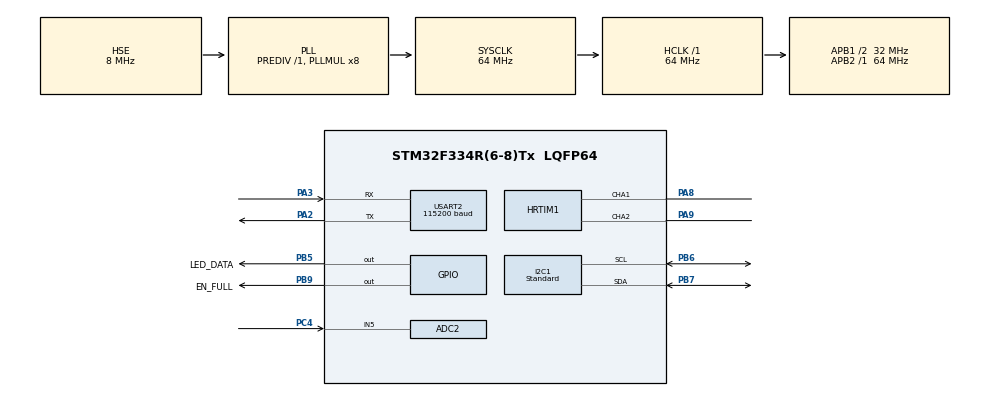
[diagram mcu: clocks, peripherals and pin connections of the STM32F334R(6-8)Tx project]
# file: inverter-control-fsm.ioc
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ADC2.Channel-1\#ChannelRegularConversion=ADC_CHANNEL_5
ADC2.ClockPrescaler=ADC_CLOCK_SYNC_PCLK_DIV1
ADC2.DMAContinuousRequests=ENABLE
ADC2.EnableInjectedConversion=DISABLE
ADC2.ExternalTrigConv=ADC_EXTERNALTRIGCONVHRTIM_TRG1
ADC2.NbrOfConversionFlag=1
ADC2.Offset-1\#ChannelRegularConversion=0
ADC2.OffsetNumber-1\#ChannelRegularConversion=ADC_OFFSET_NONE
ADC2.Rank-1\#ChannelRegularConversion=1
ADC2.SamplingTime-1\#ChannelRegularConversion=ADC_SAMPLETIME_1CYCLE_5
ADC2.SamplingTimeOPAMP-1\#ChannelRegularConversion=ADC_SAMPLETIME_61CYCLES_5
ADC2.SubFamily=STM32F334x8
Dma.ADC2.0.Direction=DMA_PERIPH_TO_MEMORY
Dma.ADC2.0.Instance=DMA1_Channel2
Dma.ADC2.0.MemDataAlignment=DMA_MDATAALIGN_HALFWORD
Dma.ADC2.0.MemInc=DMA_MINC_ENABLE
Dma.ADC2.0.Mode=DMA_CIRCULAR
Dma.ADC2.0.PeriphDataAlignment=DMA_PDATAALIGN_HALFWORD
Dma.ADC2.0.PeriphInc=DMA_PINC_DISABLE
Dma.ADC2.0.Priority=DMA_PRIORITY_LOW
Dma.Request0=ADC2
HRTIM1.ADCTrigger1_Source1=HRTIM_ADCTRIGGEREVENT13_TIMERB_PERIOD
HRTIM1.ADCTrigger_Id1=HRTIM_ADCTRIGGER_1
HRTIM1.CompareUnit1-Output_TA1TA2=HRTIM_COMPAREUNIT_1
HRTIM1.CompareUnit2-Output_TA1TA2=HRTIM_COMPAREUNIT_2
HRTIM1.CompareUnit3-Output_TA1TA2=HRTIM_COMPAREUNIT_3
HRTIM1.CompareUnit4-Output_TA1TA2=__NULL
HRTIM1.CompareValue1-Output_TA1TA2=207
HRTIM1.CompareValue2-Output_TA1TA2=302
HRTIM1.CompareValue3-Output_TA1TA2=509
HRTIM1.IdleLevel1-Output_TA1TA2=HRTIM_OUTPUTIDLELEVEL_ACTIVE
HRTIM1.IdleLevel2-Output_TA1TA2=HRTIM_OUTPUTIDLELEVEL_ACTIVE
HRTIM1.ModeTimeBase-Output_TA1TA2=HRTIM_MODE_SINGLESHOT_RETRIGGERABLE
HRTIM1.NumberADCTriggerSource1=1
HRTIM1.NumberResetSource1-Output_TA1TA2=1
HRTIM1.NumberResetSource2_TA=1
HRTIM1.NumberResetTrigger-Output_TA1TA2=1
HRTIM1.NumberSetSource1-Output_TA1TA2=1
HRTIM1.NumberSetSource2_TA=1
HRTIM1.ORingUpdateSource_ADCTrigger1=HRTIM_ADCTRIGGERUPDATE_TIMER_B
HRTIM1.Periode_MASTER=604
HRTIM1.Periode_TA=0xA0FF
HRTIM1.Periode_TB=1216
HRTIM1.Polarity1-Output_TA1TA2=HRTIM_OUTPUTPOLARITY_HIGH
HRTIM1.PreloadEnable-MasterTimer=HRTIM_PRELOAD_ENABLED
HRTIM1.PreloadEnable-No_output_TB=HRTIM_PRELOAD_ENABLED
HRTIM1.PreloadEnable-Output_TA1TA2=HRTIM_PRELOAD_ENABLED
HRTIM1.ResetOutput1_Source1-Output_TA1TA2=HRTIM_OUTPUTRESET_TIMCMP1
HRTIM1.ResetOutput2_Source1-Output_TA1TA2=HRTIM_OUTPUTRESET_TIMCMP3
HRTIM1.ResetTrigger1-Output_TA1TA2=HRTIM_TIMRESETTRIGGER_MASTER_PER
HRTIM1.SetOutput1_Source1-Output_TA1TA2=HRTIM_OUTPUTSET_MASTERPER
HRTIM1.SetOutput2_Source1-Output_TA1TA2=HRTIM_OUTPUTSET_TIMCMP2
I2C1.Analog_Filter=I2C_ANALOGFILTER_ENABLE
I2C1.I2C_Speed_Mode=I2C_Standard
I2C1.Timing=0x10707DBC
Mcu.Family=STM32F3
Mcu.Name=STM32F334R(6-8)Tx
Mcu.Package=LQFP64
NVIC.DMA1_Channel2_IRQn=true\:0\:0\:false\:false\:true\:false\:true\:true
NVIC.PriorityGroup=NVIC_PRIORITYGROUP_4
NVIC.TIM6_DAC1_IRQn=true\:0\:0\:false\:false\:true\:true\:true\:true
NVIC.USART2_IRQn=true\:11\:0\:true\:false\:true\:true\:true\:true
PA13.Mode=Serial_Wire
PA13.Signal=SYS_JTMS-SWDIO
PA14.Mode=Serial_Wire
PA14.Signal=SYS_JTCK-SWCLK
PA2.Mode=Asynchronous
PA2.Signal=USART2_TX
PA3.Mode=Asynchronous
PA3.Signal=USART2_RX
PA8.Mode=Output_TA1TA2
PA8.Signal=HRTIM1_CHA1
PA9.Mode=Output_TA1TA2
PA9.Signal=HRTIM1_CHA2
PB3.Signal=SYS_JTDO-TRACESWO
PB5.GPIO_Label=LED_DATA
PB5.Signal=GPIO_Output
PB6.GPIO_FM6=SYSCFG_CFGR1_I2C_PB6_FMP
PB6.GPIO_Pu=GPIO_NOPULL
PB6.GPIO_Speed=GPIO_SPEED_FREQ_HIGH
PB6.Mode=I2C
PB6.Signal=I2C1_SCL
PB7.GPIO_FM7=SYSCFG_CFGR1_I2C_PB7_FMP
PB7.GPIO_Pu=GPIO_NOPULL
PB7.Mode=I2C
PB7.Signal=I2C1_SDA
PB9.GPIO_FM9=__NULL
PB9.GPIO_Label=EN_FULL
PB9.GPIO_Speed=GPIO_SPEED_FREQ_LOW
PB9.Signal=GPIO_Output
PC4.Mode=IN5-Single-Ended
PC4.Signal=ADC2_IN5
PF0\ /\ OSC_IN.Mode=HSE-External-Oscillator
PF0\ /\ OSC_IN.Signal=RCC_OSC_IN
PF1\ /\ OSC_OUT.Mode=HSE-External-Oscillator
PF1\ /\ OSC_OUT.Signal=RCC_OSC_OUT
ProjectManager.HeapSize=0x200
ProjectManager.StackSize=0x400
ProjectManager.TargetToolchain=STM32CubeIDE
RCC.AHBFreq_Value=64000000
RCC.APB1CLKDivider=RCC_HCLK_DIV2
RCC.APB1Freq_Value=32000000
RCC.APB1TimFreq_Value=64000000
RCC.APB2Freq_Value=64000000
RCC.APB2TimFreq_Value=64000000
RCC.CortexFreq_Value=64000000
RCC.HCLKFreq_Value=64000000
RCC.HRTIMSelection=RCC_HRTIM1CLK_PLLCLK
RCC.HSE_VALUE=8000000
RCC.HSI_VALUE=8000000
RCC.I2c1ClockSelection=RCC_I2C1CLKSOURCE_SYSCLK
RCC.LSE_VALUE=32768
RCC.PLLMUL=RCC_PLL_MUL8
RCC.PLLSourceVirtual=RCC_PLLSOURCE_HSE
RCC.SYSCLKFreq_VALUE=64000000
RCC.SYSCLKSourceVirtual=RCC_SYSCLKSOURCE_PLLCLK
TIM6.Period=18750
TIM6.Prescaler=1024
USART2.BaudRate=115200
USART2.VirtualMode-Asynchronous=VM_ASYNC
VP_HRTIM1_VS_hrtimMasterTimerNoOutput.Mode=MasterTimer
VP_HRTIM1_VS_hrtimTimerBNoOutput.Mode=No_output_TB
VP_TIM6_VS_ClockSourceINT.Mode=Enable_Timer
board=custom

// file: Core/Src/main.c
/* USER CODE BEGIN Header */
/**
 ******************************************************************************
 * @file           : main.c
 * @brief          : Main program body
 ******************************************************************************
 * @attention
 *
 * Copyright (c) 2023 STMicroelectronics.
 * All rights reserved.
 *
 * This software is licensed under terms that can be found in the LICENSE file
 * in the root directory of this software component.
 * If no LICENSE file comes with this software, it is provided AS-IS.
 *
 ******************************************************************************
 */
/* USER CODE END Header */
#include "main.h"

/* USER CODE BEGIN Includes */
#include <stdbool.h>
#include "cJSON.h"
#include <string.h>
#include <stdio.h>
/* USER CODE END Includes */

/* USER CODE BEGIN PTD */
typedef enum {
	STATE_IDLE, STATE_CALIBRATING, STATE_LOCALIZATION, STATE_DEPLOY
} state_t;

typedef enum {
	EVENT_OFF_MSG,
	EVENT_CALIBRATE_DONE,
	EVENT_LOCALIZATION_MSG,
	EVENT_DEPLOY_MSG,
	EVENT_ALERT,
} event_t;

typedef enum {
	NONE, OV, OC, OT, HS, DI,
} alert_t;

typedef struct {
	state_t currentState;
	event_t event;
	state_t nextState;
	void (*action)(void);
} transition_t;
/* USER CODE END PTD */

/* USER CODE BEGIN PD */
#define I2C_ADD_TEMP1 0x48
#define I2C_ADD_TEMP2 0x49
#define I2C_ADD_PWR 0x40

#define ADC_BUF_LEN 151

#define BUFFER_SIZE 1024

#define STARTING_DUTY				0.3
#define MAX_DUTY_CALIBRATION		0.4
#define MIN_DUTY_CALIBRATION		0.2
#define DEPLOY_DUTY_TRESHOLD		0.015
#define DUTY_CYCLE_SINGLE_CHANGE	0.002

/* USER CODE END PD */

ADC_HandleTypeDef hadc2;
DMA_HandleTypeDef hdma_adc2;

HRTIM_HandleTypeDef hhrtim1;

I2C_HandleTypeDef hi2c1;

TIM_HandleTypeDef htim6;

UART_HandleTypeDef huart2;

/* USER CODE BEGIN PV */
state_t currentState = STATE_IDLE;

static volatile uint16_t adc_buf[ADC_BUF_LEN];

static uint8_t rxBuffer[BUFFER_SIZE];
static volatile uint16_t rxIndex = 0;

static volatile uint8_t jsonFlag = 0;
static volatile bool UART_READY = true;
static volatile bool SEND_TIMER_FLAG = false;

static double TEMP_LIMIT = 40;
static double CURRENT_LIMIT = 2.2;
static double VOLT_LIMIT = 75;

static alert_t gAlertType = NONE;

/* USER CODE END PV */

void SystemClock_Config(void);
static void MX_GPIO_Init(void);
static void MX_DMA_Init(void);
static void MX_I2C1_Init(void);
static void MX_ADC2_Init(void);
static void MX_HRTIM1_Init(void);
static void MX_USART2_UART_Init(void);
static void MX_TIM6_Init(void);
/* USER CODE BEGIN PFP */
void handleEvent(event_t event);
void actionTurnOff();
void actionTurnOn();
void actionCalibrate();

void parse_json(const char *json);
/* USER CODE END PFP */

/* USER CODE BEGIN 0 */
// @formatter:off
transition_t transitionTable[] = {
		{ STATE_IDLE, 			EVENT_LOCALIZATION_MSG,    	STATE_CALIBRATING, 	actionTurnOn			 	},
		{ STATE_CALIBRATING, 	EVENT_CALIBRATE_DONE, 		STATE_LOCALIZATION, NULL					 	},
		{ STATE_LOCALIZATION, 	EVENT_DEPLOY_MSG,			STATE_DEPLOY, 		NULL 						},

		{ STATE_IDLE, 			EVENT_DEPLOY_MSG,			STATE_CALIBRATING,  actionTurnOn				},
		{ STATE_CALIBRATING, 	EVENT_CALIBRATE_DONE,		STATE_DEPLOY,  		NULL						},

		{ STATE_DEPLOY, 		EVENT_ALERT, 				STATE_IDLE,      	actionTurnOff 				},
		{ STATE_DEPLOY, 		EVENT_OFF_MSG, 				STATE_IDLE,     	actionTurnOff 				},
		{ STATE_CALIBRATING, 	EVENT_ALERT, 				STATE_IDLE, 		actionTurnOff 				},
		{ STATE_CALIBRATING, 	EVENT_OFF_MSG, 				STATE_IDLE, 		actionTurnOff 				},
		{ STATE_IDLE,			EVENT_OFF_MSG,				STATE_IDLE,			actionTurnOff				},
		{ STATE_IDLE,			EVENT_ALERT,				STATE_IDLE,			actionTurnOff				},
		{ STATE_IDLE,			EVENT_ALERT,				STATE_IDLE,			actionTurnOff				},
		{ STATE_LOCALIZATION,	EVENT_ALERT,				STATE_IDLE,			actionTurnOff				},
		{ STATE_LOCALIZATION,	EVENT_OFF_MSG,				STATE_IDLE,			actionTurnOff				},
};
//@formatter:on
/* USER CODE END 0 */

int main(void)
{

  /* MCU Configuration--------------------------------------------------------*/

  /* Reset of all peripherals, Initializes the Flash interface and the Systick. */
  HAL_Init();

  /* Configure the system clock */
  SystemClock_Config();

  /* Initialize all configured peripherals */
  MX_GPIO_Init();
  MX_DMA_Init();
  MX_I2C1_Init();
  MX_ADC2_Init();
  MX_HRTIM1_Init();
  MX_USART2_UART_Init();
  MX_TIM6_Init();
  /* USER CODE BEGIN 2 */
	HAL_ADCEx_Calibration_Start(&hadc2, ADC_SINGLE_ENDED);
	HAL_ADC_Start_DMA(&hadc2, (uint32_t*) adc_buf, ADC_BUF_LEN);

	// Buffers for I2C
	uint8_t aTxRegPtr[1];
	uint8_t aTxData[2];

	// Set current sensor averaging
	aTxRegPtr[0] = 0x00;
	aTxData[0] = 0b01000111;
	aTxData[1] = 0b00100111;
	HAL_I2C_Mem_Write(&hi2c1, (uint16_t) I2C_ADD_PWR << 1U,
			(uint16_t) aTxRegPtr[0], 1, (uint8_t*) aTxData, 2, HAL_MAX_DELAY);

	double current_duty = STARTING_DUTY;
	double cal_duty = current_duty;
	double max_duty = MAX_DUTY_CALIBRATION;
	double min_duty = MIN_DUTY_CALIBRATION;
	uint16_t signal_period = 604;
	uint16_t compare1_val = STARTING_DUTY * signal_period;
	uint16_t compare3_val = compare1_val + signal_period / 2;

	HAL_HRTIM_WaveformCountStart(&hhrtim1,
	HRTIM_TIMERID_TIMER_A | HRTIM_TIMERID_MASTER | HRTIM_TIMERID_TIMER_B);
	HAL_HRTIM_WaveformOutputStart(&hhrtim1,
	HRTIM_OUTPUT_TA1 | HRTIM_OUTPUT_TA2);
	__HAL_HRTIM_SETCOMPARE(&hhrtim1, HRTIM_TIMERINDEX_TIMER_A,
			HRTIM_COMPAREUNIT_1, compare1_val);
	__HAL_HRTIM_SETCOMPARE(&hhrtim1, HRTIM_TIMERINDEX_TIMER_A,
			HRTIM_COMPAREUNIT_3, compare3_val);
	HAL_HRTIM_SoftwareUpdate(&hhrtim1,
	HRTIM_TIMERUPDATE_A | HRTIM_TIMERUPDATE_B | HRTIM_TIMERUPDATE_MASTER);

	int16_t tuning;
	uint16_t adc_max;
	uint8_t low_vds_count;

	uint8_t zero_cross = 103;
	uint8_t low_vds_count_threshold = current_duty * ADC_BUF_LEN - 1;
	uint16_t low_vds_threshold = 200;
	uint16_t vds_checking_threshold = 1800;
	int16_t tuning_threshold = 400;

	char json[1024];

	double alert_temp1 = 0, alert_temp2 = 0, alert_voltage = 0, alert_current = 0;

	HAL_UART_Receive_IT(&huart2, &rxBuffer[rxIndex], 1); // Enable UART receive interrupt
	HAL_TIM_Base_Start_IT(&htim6);

  /* USER CODE END 2 */

  /* Infinite loop */
  /* USER CODE BEGIN WHILE */
	while (1) {
		adc_max = 0;
		low_vds_count = 0;
		uint16_t adc_buf2[ADC_BUF_LEN];

		/* Transfer buffer and find maximum value */
		for (int i = 0; i < ADC_BUF_LEN; i++) {
			adc_buf2[i] = adc_buf[i]; // convert to real value
			if (adc_buf2[i] > adc_max) {
				adc_max = adc_buf2[i];	// find maximum value in buffer
			}
		}

		/* Count how much values are 'zero' */
		for (int i = 0; i < ADC_BUF_LEN; i++) {
			if (adc_buf2[i] < low_vds_threshold
					&& adc_max > vds_checking_threshold) {
				low_vds_count++;
			}
		}

		/* Find hard-switching value */
		tuning = adc_buf2[zero_cross];

		if ((currentState == STATE_CALIBRATING) || (currentState == STATE_LOCALIZATION))
		{
			//set duty limits
			max_duty = MAX_DUTY_CALIBRATION;
			min_duty = MIN_DUTY_CALIBRATION;
		}

		// I2C readings
		uint8_t aRxBuffer[2];

		aTxRegPtr[0] = 0x02;
		aRxBuffer[0] = 0x00;
		aRxBuffer[1] = 0x00;
		HAL_I2C_Master_Transmit(&hi2c1, (uint16_t) I2C_ADD_PWR << 1U,
				(uint8_t*) aTxRegPtr, 1, HAL_MAX_DELAY);
		HAL_I2C_Master_Receive(&hi2c1, (uint16_t) I2C_ADD_PWR << 1U,
				(uint8_t*) aRxBuffer, 2, HAL_MAX_DELAY);
		double voltage = (aRxBuffer[0] << 8 | aRxBuffer[1]) * 0.00125 * 20.1 / 5.1;

		aTxRegPtr[0] = 0x00;
		aRxBuffer[0] = 0x00;
		aRxBuffer[1] = 0x00;
		HAL_I2C_Master_Transmit(&hi2c1, (uint16_t) I2C_ADD_TEMP1 << 1,
				(uint8_t*) aTxRegPtr, 1, HAL_MAX_DELAY);
		HAL_I2C_Master_Receive(&hi2c1, (uint16_t) I2C_ADD_TEMP1 << 1,
				(uint8_t*) aRxBuffer, 2, HAL_MAX_DELAY);
		double temp1 = (aRxBuffer[0] << 4 | aRxBuffer[1] >> 4) * 0.0625;

		HAL_I2C_Master_Transmit(&hi2c1, (uint16_t) I2C_ADD_TEMP2 << 1U,
				(uint8_t*) aTxRegPtr, 1, HAL_MAX_DELAY);
		HAL_I2C_Master_Receive(&hi2c1, (uint16_t) I2C_ADD_TEMP2 << 1U,
				(uint8_t*) aRxBuffer, 2, HAL_MAX_DELAY);
		double temp2 = (aRxBuffer[0] << 4 | aRxBuffer[1] >> 4) * 0.0625;

		aTxRegPtr[0] = 0x01;
		aRxBuffer[0] = 0x00;
		aRxBuffer[1] = 0x00;
		HAL_I2C_Master_Transmit(&hi2c1, (uint16_t) I2C_ADD_PWR << 1U,
				(uint8_t*) aTxRegPtr, 1, HAL_MAX_DELAY);
		HAL_I2C_Master_Receive(&hi2c1, (uint16_t) I2C_ADD_PWR << 1U,
				(uint8_t*) aRxBuffer, 2, HAL_MAX_DELAY);
		double current = (int16_t) (aRxBuffer[0] << 8 | aRxBuffer[1])
				* 0.0000025 / 0.012;

		// check for High Switching or Diode Conducting
		// avoid transient cycle
		if (adc_max > vds_checking_threshold)
		{
			if (tuning > tuning_threshold) {
				current_duty = current_duty - DUTY_CYCLE_SINGLE_CHANGE;
				low_vds_count_threshold = current_duty * ADC_BUF_LEN - 1;
				if (current_duty > min_duty)
				{
					compare1_val = current_duty * signal_period;
					compare3_val = compare1_val + signal_period / 2;
					__HAL_HRTIM_SETCOMPARE(&hhrtim1, HRTIM_TIMERINDEX_TIMER_A,
							HRTIM_COMPAREUNIT_1, compare1_val);
					__HAL_HRTIM_SETCOMPARE(&hhrtim1, HRTIM_TIMERINDEX_TIMER_A,
							HRTIM_COMPAREUNIT_3, compare3_val);
					HAL_HRTIM_SoftwareUpdate(&hhrtim1, HRTIM_TIMERUPDATE_A);
				} else {
					gAlertType = HS;
				}
			} else if (low_vds_count > low_vds_count_threshold)
			{
				current_duty = current_duty + DUTY_CYCLE_SINGLE_CHANGE;
				low_vds_count_threshold = current_duty * ADC_BUF_LEN - 1;
				if (current_duty < max_duty)
				{
					compare1_val = current_duty * signal_period;
					compare3_val = compare1_val + signal_period / 2;
					__HAL_HRTIM_SETCOMPARE(&hhrtim1, HRTIM_TIMERINDEX_TIMER_A,
							HRTIM_COMPAREUNIT_1, compare1_val);
					__HAL_HRTIM_SETCOMPARE(&hhrtim1, HRTIM_TIMERINDEX_TIMER_A,
							HRTIM_COMPAREUNIT_3, compare3_val);
					HAL_HRTIM_SoftwareUpdate(&hhrtim1, HRTIM_TIMERUPDATE_A);
				} else {
					gAlertType = DI;
				}
			} else if ((currentState == STATE_CALIBRATING) && (voltage > 66.5)) {
				if (cal_duty != current_duty)
					cal_duty = current_duty;
				 else
				 {
					handleEvent(EVENT_CALIBRATE_DONE);
				 }
			} else if (currentState == STATE_DEPLOY) //no duty cycle changes
			{
				// dynamic reaction to slow duty cycle changes
				min_duty = current_duty - DEPLOY_DUTY_TRESHOLD;
				if (min_duty < MIN_DUTY_CALIBRATION)
					min_duty = MIN_DUTY_CALIBRATION;

				max_duty = current_duty + DEPLOY_DUTY_TRESHOLD;
				if (max_duty > MAX_DUTY_CALIBRATION)
					max_duty = MAX_DUTY_CALIBRATION;
			}
		}

		// handle ALERTS
		if ((temp1 > TEMP_LIMIT) || (temp2 > TEMP_LIMIT)) {
			gAlertType = OT;
			alert_temp1 = temp1;
			alert_temp2 = temp2;
		} else if (voltage > VOLT_LIMIT){
			gAlertType = OV;
			alert_voltage = voltage;
		} else if (current > CURRENT_LIMIT) {
			gAlertType = OC;
			alert_current = current;
		}

		if ((gAlertType != NONE) && (currentState != STATE_IDLE))
		{
			handleEvent(EVENT_ALERT);
			// reset waveform
			current_duty = STARTING_DUTY;
			compare1_val = current_duty * signal_period;
			compare3_val = compare1_val + signal_period / 2;
			low_vds_count_threshold = current_duty * ADC_BUF_LEN - 1;
			__HAL_HRTIM_SETCOMPARE(&hhrtim1, HRTIM_TIMERINDEX_TIMER_A,
					HRTIM_COMPAREUNIT_1, compare1_val);
			__HAL_HRTIM_SETCOMPARE(&hhrtim1, HRTIM_TIMERINDEX_TIMER_A,
					HRTIM_COMPAREUNIT_3, compare3_val);
			HAL_HRTIM_SoftwareUpdate(&hhrtim1, HRTIM_TIMERUPDATE_A);
		}

		if (SEND_TIMER_FLAG && UART_READY && (currentState != STATE_CALIBRATING))
		{
			if (alert_temp1)
				temp1 = alert_temp1;
			if (alert_temp2)
				temp2 = alert_temp2;
			if (alert_voltage)
				voltage = alert_voltage;
			if (alert_current)
				current = alert_current;

			sprintf(json,
					"{\"temperature1\":%.2f,\"temperature2\":%.2f,\"duty\":%.3f,\"voltage\":%.2f,\"current\":%.2f,\"tuning\":%i,\"low_vds\":%i,\"low_vds_threshold\":%i,\"alert\":%i}",
					temp1, temp2, current_duty, voltage, current, tuning,
					low_vds_count, low_vds_count_threshold, gAlertType);

			HAL_UART_Transmit_IT(&huart2, (uint8_t*) json, strlen(json));
			UART_READY = false;
			SEND_TIMER_FLAG = false;
			alert_temp1 = alert_temp2 = alert_voltage = alert_current = 0;
		}

		HAL_Delay(10);
    /* USER CODE END WHILE */

	}
}

void SystemClock_Config(void)
{
  RCC_OscInitTypeDef RCC_OscInitStruct = {0};
  RCC_ClkInitTypeDef RCC_ClkInitStruct = {0};
  RCC_PeriphCLKInitTypeDef PeriphClkInit = {0};

  /** Initializes the RCC Oscillators according to the specified parameters
  * in the RCC_OscInitTypeDef structure.
  */
  RCC_OscInitStruct.OscillatorType = RCC_OSCILLATORTYPE_HSE;
  RCC_OscInitStruct.HSEState = RCC_HSE_ON;
  RCC_OscInitStruct.HSEPredivValue = RCC_HSE_PREDIV_DIV1;
  RCC_OscInitStruct.HSIState = RCC_HSI_ON;
  RCC_OscInitStruct.PLL.PLLState = RCC_PLL_ON;
  RCC_OscInitStruct.PLL.PLLSource = RCC_PLLSOURCE_HSE;
  RCC_OscInitStruct.PLL.PLLMUL = RCC_PLL_MUL8;
  if (HAL_RCC_OscConfig(&RCC_OscInitStruct) != HAL_OK)
  {
    Error_Handler();
  }

  /** Initializes the CPU, AHB and APB buses clocks
  */
  RCC_ClkInitStruct.ClockType = RCC_CLOCKTYPE_HCLK|RCC_CLOCKTYPE_SYSCLK
                              |RCC_CLOCKTYPE_PCLK1|RCC_CLOCKTYPE_PCLK2;
  RCC_ClkInitStruct.SYSCLKSource = RCC_SYSCLKSOURCE_PLLCLK;
  RCC_ClkInitStruct.AHBCLKDivider = RCC_SYSCLK_DIV1;
  RCC_ClkInitStruct.APB1CLKDivider = RCC_HCLK_DIV2;
  RCC_ClkInitStruct.APB2CLKDivider = RCC_HCLK_DIV1;

  if (HAL_RCC_ClockConfig(&RCC_ClkInitStruct, FLASH_LATENCY_2) != HAL_OK)
  {
    Error_Handler();
  }
  PeriphClkInit.PeriphClockSelection = RCC_PERIPHCLK_HRTIM1|RCC_PERIPHCLK_I2C1;
  PeriphClkInit.I2c1ClockSelection = RCC_I2C1CLKSOURCE_SYSCLK;
  PeriphClkInit.Hrtim1ClockSelection = RCC_HRTIM1CLK_PLLCLK;
  if (HAL_RCCEx_PeriphCLKConfig(&PeriphClkInit) != HAL_OK)
  {
    Error_Handler();
  }
}

static void MX_ADC2_Init(void)
{

  ADC_ChannelConfTypeDef sConfig = {0};

  /** Common config
  */
  hadc2.Instance = ADC2;
  hadc2.Init.ClockPrescaler = ADC_CLOCK_SYNC_PCLK_DIV1;
  hadc2.Init.Resolution = ADC_RESOLUTION_12B;
  hadc2.Init.ScanConvMode = ADC_SCAN_DISABLE;
  hadc2.Init.ContinuousConvMode = DISABLE;
  hadc2.Init.DiscontinuousConvMode = DISABLE;
  hadc2.Init.ExternalTrigConvEdge = ADC_EXTERNALTRIGCONVEDGE_RISING;
  hadc2.Init.ExternalTrigConv = ADC_EXTERNALTRIGCONVHRTIM_TRG1;
  hadc2.Init.DataAlign = ADC_DATAALIGN_RIGHT;
  hadc2.Init.NbrOfConversion = 1;
  hadc2.Init.DMAContinuousRequests = ENABLE;
  hadc2.Init.EOCSelection = ADC_EOC_SINGLE_CONV;
  hadc2.Init.LowPowerAutoWait = DISABLE;
  hadc2.Init.Overrun = ADC_OVR_DATA_OVERWRITTEN;
  if (HAL_ADC_Init(&hadc2) != HAL_OK)
  {
    Error_Handler();
  }

  /** Configure Regular Channel
  */
  sConfig.Channel = ADC_CHANNEL_5;
  sConfig.Rank = ADC_REGULAR_RANK_1;
  sConfig.SingleDiff = ADC_SINGLE_ENDED;
  sConfig.SamplingTime = ADC_SAMPLETIME_1CYCLE_5;
  sConfig.OffsetNumber = ADC_OFFSET_NONE;
  sConfig.Offset = 0;
  if (HAL_ADC_ConfigChannel(&hadc2, &sConfig) != HAL_OK)
  {
    Error_Handler();
  }

}

static void MX_HRTIM1_Init(void)
{

  HRTIM_ADCTriggerCfgTypeDef pADCTriggerCfg = {0};
  HRTIM_TimeBaseCfgTypeDef pTimeBaseCfg = {0};
  HRTIM_TimerCfgTypeDef pTimerCfg = {0};
  HRTIM_CompareCfgTypeDef pCompareCfg = {0};
  HRTIM_OutputCfgTypeDef pOutputCfg = {0};

  hhrtim1.Instance = HRTIM1;
  hhrtim1.Init.HRTIMInterruptResquests = HRTIM_IT_NONE;
  hhrtim1.Init.SyncOptions = HRTIM_SYNCOPTION_NONE;
  if (HAL_HRTIM_Init(&hhrtim1) != HAL_OK)
  {
    Error_Handler();
  }
  if (HAL_HRTIM_DLLCalibrationStart(&hhrtim1, HRTIM_CALIBRATIONRATE_14) != HAL_OK)
  {
    Error_Handler();
  }
  if (HAL_HRTIM_PollForDLLCalibration(&hhrtim1, 10) != HAL_OK)
  {
    Error_Handler();
  }
  pADCTriggerCfg.UpdateSource = HRTIM_ADCTRIGGERUPDATE_TIMER_B;
  pADCTriggerCfg.Trigger = HRTIM_ADCTRIGGEREVENT13_TIMERB_PERIOD;
  if (HAL_HRTIM_ADCTriggerConfig(&hhrtim1, HRTIM_ADCTRIGGER_1, &pADCTriggerCfg) != HAL_OK)
  {
    Error_Handler();
  }
  pTimeBaseCfg.Period = 604;
  pTimeBaseCfg.RepetitionCounter = 0x00;
  pTimeBaseCfg.PrescalerRatio = HRTIM_PRESCALERRATIO_MUL32;
  pTimeBaseCfg.Mode = HRTIM_MODE_CONTINUOUS;
  if (HAL_HRTIM_TimeBaseConfig(&hhrtim1, HRTIM_TIMERINDEX_MASTER, &pTimeBaseCfg) != HAL_OK)
  {
    Error_Handler();
  }
  pTimerCfg.InterruptRequests = HRTIM_MASTER_IT_NONE;
  pTimerCfg.DMARequests = HRTIM_MASTER_DMA_NONE;
  pTimerCfg.DMASrcAddress = 0x0000;
  pTimerCfg.DMADstAddress = 0x0000;
  pTimerCfg.DMASize = 0x1;
  pTimerCfg.HalfModeEnable = HRTIM_HALFMODE_DISABLED;
  pTimerCfg.StartOnSync = HRTIM_SYNCSTART_DISABLED;
  pTimerCfg.ResetOnSync = HRTIM_SYNCRESET_DISABLED;
  pTimerCfg.DACSynchro = HRTIM_DACSYNC_NONE;
  pTimerCfg.PreloadEnable = HRTIM_PRELOAD_ENABLED;
  pTimerCfg.UpdateGating = HRTIM_UPDATEGATING_INDEPENDENT;
  pTimerCfg.BurstMode = HRTIM_TIMERBURSTMODE_MAINTAINCLOCK;
  pTimerCfg.RepetitionUpdate = HRTIM_UPDATEONREPETITION_DISABLED;
  if (HAL_HRTIM_WaveformTimerConfig(&hhrtim1, HRTIM_TIMERINDEX_MASTER, &pTimerCfg) != HAL_OK)
  {
    Error_Handler();
  }
  pTimeBaseCfg.Period = 0xA0FF;
  pTimeBaseCfg.Mode = HRTIM_MODE_SINGLESHOT_RETRIGGERABLE;
  if (HAL_HRTIM_TimeBaseConfig(&hhrtim1, HRTIM_TIMERINDEX_TIMER_A, &pTimeBaseCfg) != HAL_OK)
  {
    Error_Handler();
  }
  pTimerCfg.InterruptRequests = HRTIM_TIM_IT_NONE;
  pTimerCfg.DMARequests = HRTIM_TIM_DMA_NONE;
  pTimerCfg.PushPull = HRTIM_TIMPUSHPULLMODE_DISABLED;
  pTimerCfg.FaultEnable = HRTIM_TIMFAULTENABLE_NONE;
  pTimerCfg.FaultLock = HRTIM_TIMFAULTLOCK_READWRITE;
  pTimerCfg.DeadTimeInsertion = HRTIM_TIMDEADTIMEINSERTION_DISABLED;
  pTimerCfg.DelayedProtectionMode = HRTIM_TIMER_A_B_C_DELAYEDPROTECTION_DISABLED;
  pTimerCfg.UpdateTrigger = HRTIM_TIMUPDATETRIGGER_NONE;
  pTimerCfg.ResetTrigger = HRTIM_TIMRESETTRIGGER_MASTER_PER;
  pTimerCfg.ResetUpdate = HRTIM_TIMUPDATEONRESET_DISABLED;
  if (HAL_HRTIM_WaveformTimerConfig(&hhrtim1, HRTIM_TIMERINDEX_TIMER_A, &pTimerCfg) != HAL_OK)
  {
    Error_Handler();
  }
  pTimerCfg.ResetTrigger = HRTIM_TIMRESETTRIGGER_NONE;
  if (HAL_HRTIM_WaveformTimerConfig(&hhrtim1, HRTIM_TIMERINDEX_TIMER_B, &pTimerCfg) != HAL_OK)
  {
    Error_Handler();
  }
  pCompareCfg.CompareValue = 207;
  if (HAL_HRTIM_WaveformCompareConfig(&hhrtim1, HRTIM_TIMERINDEX_TIMER_A, HRTIM_COMPAREUNIT_1, &pCompareCfg) != HAL_OK)
  {
    Error_Handler();
  }
  pCompareCfg.CompareValue = 302;
  pCompareCfg.AutoDelayedMode = HRTIM_AUTODELAYEDMODE_REGULAR;
  pCompareCfg.AutoDelayedTimeout = 0x0000;

  if (HAL_HRTIM_WaveformCompareConfig(&hhrtim1, HRTIM_TIMERINDEX_TIMER_A, HRTIM_COMPAREUNIT_2, &pCompareCfg) != HAL_OK)
  {
    Error_Handler();
  }
  pCompareCfg.CompareValue = 509;
  if (HAL_HRTIM_WaveformCompareConfig(&hhrtim1, HRTIM_TIMERINDEX_TIMER_A, HRTIM_COMPAREUNIT_3, &pCompareCfg) != HAL_OK)
  {
    Error_Handler();
  }
  pOutputCfg.Polarity = HRTIM_OUTPUTPOLARITY_HIGH;
  pOutputCfg.SetSource = HRTIM_OUTPUTSET_MASTERPER;
  pOutputCfg.ResetSource = HRTIM_OUTPUTRESET_TIMCMP1;
  pOutputCfg.IdleMode = HRTIM_OUTPUTIDLEMODE_NONE;
  pOutputCfg.IdleLevel = HRTIM_OUTPUTIDLELEVEL_ACTIVE;
  pOutputCfg.FaultLevel = HRTIM_OUTPUTFAULTLEVEL_NONE;
  pOutputCfg.ChopperModeEnable = HRTIM_OUTPUTCHOPPERMODE_DISABLED;
  pOutputCfg.BurstModeEntryDelayed = HRTIM_OUTPUTBURSTMODEENTRY_REGULAR;
  if (HAL_HRTIM_WaveformOutputConfig(&hhrtim1, HRTIM_TIMERINDEX_TIMER_A, HRTIM_OUTPUT_TA1, &pOutputCfg) != HAL_OK)
  {
    Error_Handler();
  }
  pOutputCfg.SetSource = HRTIM_OUTPUTSET_TIMCMP2;
  pOutputCfg.ResetSource = HRTIM_OUTPUTRESET_TIMCMP3;
  if (HAL_HRTIM_WaveformOutputConfig(&hhrtim1, HRTIM_TIMERINDEX_TIMER_A, HRTIM_OUTPUT_TA2, &pOutputCfg) != HAL_OK)
  {
    Error_Handler();
  }
  pTimeBaseCfg.Period = 1216;
  pTimeBaseCfg.Mode = HRTIM_MODE_CONTINUOUS;
  if (HAL_HRTIM_TimeBaseConfig(&hhrtim1, HRTIM_TIMERINDEX_TIMER_B, &pTimeBaseCfg) != HAL_OK)
  {
    Error_Handler();
  }
  HAL_HRTIM_MspPostInit(&hhrtim1);

}

static void MX_I2C1_Init(void)
{

  hi2c1.Instance = I2C1;
  hi2c1.Init.Timing = 0x10707DBC;
  hi2c1.Init.OwnAddress1 = 0;
  hi2c1.Init.AddressingMode = I2C_ADDRESSINGMODE_7BIT;
  hi2c1.Init.DualAddressMode = I2C_DUALADDRESS_DISABLE;
  hi2c1.Init.OwnAddress2 = 0;
  hi2c1.Init.OwnAddress2Masks = I2C_OA2_NOMASK;
  hi2c1.Init.GeneralCallMode = I2C_GENERALCALL_DISABLE;
  hi2c1.Init.NoStretchMode = I2C_NOSTRETCH_DISABLE;
  if (HAL_I2C_Init(&hi2c1) != HAL_OK)
  {
    Error_Handler();
  }

  /** Configure Analogue filter
  */
  if (HAL_I2CEx_ConfigAnalogFilter(&hi2c1, I2C_ANALOGFILTER_ENABLE) != HAL_OK)
  {
    Error_Handler();
  }

  /** Configure Digital filter
  */
  if (HAL_I2CEx_ConfigDigitalFilter(&hi2c1, 0) != HAL_OK)
  {
    Error_Handler();
  }

}

static void MX_TIM6_Init(void)
{

  TIM_MasterConfigTypeDef sMasterConfig = {0};

  htim6.Instance = TIM6;
  htim6.Init.Prescaler = 1024;
  htim6.Init.CounterMode = TIM_COUNTERMODE_UP;
  htim6.Init.Period = 18750;
  htim6.Init.AutoReloadPreload = TIM_AUTORELOAD_PRELOAD_DISABLE;
  if (HAL_TIM_Base_Init(&htim6) != HAL_OK)
  {
    Error_Handler();
  }
  sMasterConfig.MasterOutputTrigger = TIM_TRGO_RESET;
  sMasterConfig.MasterSlaveMode = TIM_MASTERSLAVEMODE_DISABLE;
  if (HAL_TIMEx_MasterConfigSynchronization(&htim6, &sMasterConfig) != HAL_OK)
  {
    Error_Handler();
  }

}

static void MX_USART2_UART_Init(void)
{

  huart2.Instance = USART2;
  huart2.Init.BaudRate = 115200;
  huart2.Init.WordLength = UART_WORDLENGTH_8B;
  huart2.Init.StopBits = UART_STOPBITS_1;
  huart2.Init.Parity = UART_PARITY_NONE;
  huart2.Init.Mode = UART_MODE_TX_RX;
  huart2.Init.HwFlowCtl = UART_HWCONTROL_NONE;
  huart2.Init.OverSampling = UART_OVERSAMPLING_16;
  huart2.Init.OneBitSampling = UART_ONE_BIT_SAMPLE_DISABLE;
  huart2.AdvancedInit.AdvFeatureInit = UART_ADVFEATURE_NO_INIT;
  if (HAL_UART_Init(&huart2) != HAL_OK)
  {
    Error_Handler();
  }

}

static void MX_DMA_Init(void)
{

  /* DMA controller clock enable */
  __HAL_RCC_DMA1_CLK_ENABLE();

  /* DMA interrupt init */
  /* DMA1_Channel2_IRQn interrupt configuration */
  HAL_NVIC_SetPriority(DMA1_Channel2_IRQn, 0, 0);
  HAL_NVIC_EnableIRQ(DMA1_Channel2_IRQn);

}

static void MX_GPIO_Init(void)
{
  GPIO_InitTypeDef GPIO_InitStruct = {0};

  /* GPIO Ports Clock Enable */
  __HAL_RCC_GPIOF_CLK_ENABLE();
  __HAL_RCC_GPIOA_CLK_ENABLE();
  __HAL_RCC_GPIOC_CLK_ENABLE();
  __HAL_RCC_GPIOB_CLK_ENABLE();

  /*Configure GPIO pin Output Level */
  HAL_GPIO_WritePin(GPIOB, LED_DATA_Pin|EN_FULL_Pin, GPIO_PIN_RESET);

  /*Configure GPIO pins : LED_DATA_Pin EN_FULL_Pin */
  GPIO_InitStruct.Pin = LED_DATA_Pin|EN_FULL_Pin;
  GPIO_InitStruct.Mode = GPIO_MODE_OUTPUT_PP;
  GPIO_InitStruct.Pull = GPIO_NOPULL;
  GPIO_InitStruct.Speed = GPIO_SPEED_FREQ_LOW;
  HAL_GPIO_Init(GPIOB, &GPIO_InitStruct);

}

/* USER CODE BEGIN 4 */

void handleEvent(event_t event) {
	bool transitionFound = false;
	for (int i = 0; i < sizeof(transitionTable) / sizeof(transition_t); i++) {
		if (transitionTable[i].currentState == currentState
				&& transitionTable[i].event == event) {
			currentState = transitionTable[i].nextState;
			if (transitionTable[i].action != NULL) {
				transitionTable[i].action();
			}

			transitionFound = true;
			break;
		}
	}

	if (!transitionFound) {
//        printf("Invalid event in the current state\n");
	}
}

void actionTurnOn() {
	HAL_HRTIM_WaveformOutputStart(&hhrtim1,
	HRTIM_OUTPUT_TA1 | HRTIM_OUTPUT_TA2);
	HAL_HRTIM_SoftwareUpdate(&hhrtim1,
	HRTIM_TIMERUPDATE_A);

	HAL_Delay(50);

	HAL_GPIO_WritePin(EN_FULL_GPIO_Port, EN_FULL_Pin, GPIO_PIN_SET);
}

void actionTurnOff() {
	HAL_GPIO_WritePin(EN_FULL_GPIO_Port, EN_FULL_Pin, GPIO_PIN_RESET);

	HAL_Delay(50);

	HAL_HRTIM_WaveformOutputStop(&hhrtim1,
	HRTIM_OUTPUT_TA1 | HRTIM_OUTPUT_TA2);
	HAL_HRTIM_SoftwareUpdate(&hhrtim1,
	HRTIM_TIMERUPDATE_A);
}

void parse_json(const char *json) {
	cJSON *root = cJSON_Parse(json);
	if (root == NULL) {
		return;
	}

	cJSON *overtemp = cJSON_GetObjectItemCaseSensitive(root, "overtemperature");
	if (cJSON_IsNumber(overtemp) && (overtemp->valuedouble != 0))
		TEMP_LIMIT = overtemp->valuedouble;

	cJSON *overcurr = cJSON_GetObjectItemCaseSensitive(root, "overcurrent");
	if (cJSON_IsNumber(overcurr) && (overcurr->valuedouble != 0))
		CURRENT_LIMIT = overcurr->valuedouble;

	cJSON *overvolt = cJSON_GetObjectItemCaseSensitive(root, "overvoltage");
	if (cJSON_IsNumber(overvolt) && (overvolt->valuedouble != 0))
		VOLT_LIMIT = overvolt->valuedouble;

	cJSON *mode = cJSON_GetObjectItemCaseSensitive(root, "mode");
	if (cJSON_IsString(mode) && (mode->valuestring != NULL)) {
		if (strcmp(mode->valuestring, "off") == 0) {
			handleEvent(EVENT_OFF_MSG);
		}
		else if (strcmp(mode->valuestring, "localization") == 0) {
			handleEvent(EVENT_LOCALIZATION_MSG);
		}
		else if (strcmp(mode->valuestring, "deploy") == 0) {
			handleEvent(EVENT_DEPLOY_MSG);
		}

	cJSON_Delete(root);
	}
}

void HAL_UART_TxCpltCallback(UART_HandleTypeDef *huart) {
	UART_READY = true;
	if (gAlertType != NONE)
		gAlertType = NONE;
}

void HAL_TIM_PeriodElapsedCallback(TIM_HandleTypeDef *htim)
{
	SEND_TIMER_FLAG = true;

}

void HAL_UART_RxCpltCallback(UART_HandleTypeDef *huart) {
	if (huart == &huart2) {
		if (rxIndex < BUFFER_SIZE) {
			if (rxBuffer[rxIndex] == '{') {
				// Start of JSON data
				rxIndex = 0;
				jsonFlag = 1;
			}

			if (jsonFlag) {
				// Store received data in the buffer
				rxBuffer[rxIndex] =
						rxBuffer[rxIndex] == '\r' ? '\n' : rxBuffer[rxIndex]; // Replace '\r' with '\n'
				rxIndex++;

				if (rxBuffer[rxIndex - 1] == '}') {
					// End of JSON data
					rxBuffer[rxIndex] = '\0'; // Null-terminate the JSON string
					jsonFlag = 0;
					parse_json((const char*) rxBuffer);
				}
			}
		}

		HAL_UART_Receive_IT(&huart2, &rxBuffer[rxIndex], 1); // Enable UART receive interrupt again
	}
}
/* USER CODE END 4 */

void Error_Handler(void)
{
	__disable_irq();
	while (1) {
	}
}
